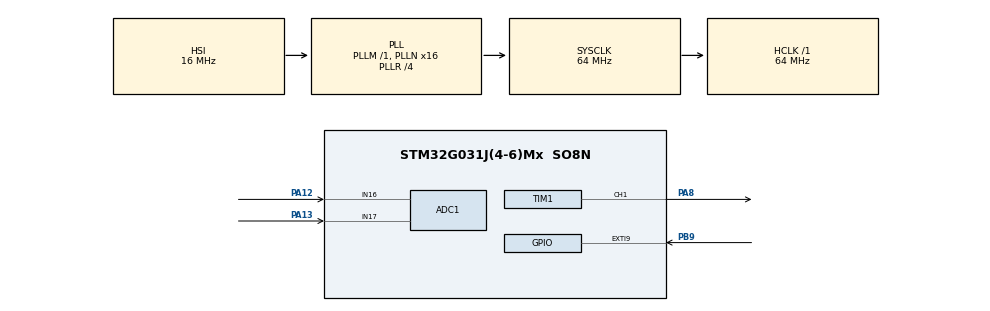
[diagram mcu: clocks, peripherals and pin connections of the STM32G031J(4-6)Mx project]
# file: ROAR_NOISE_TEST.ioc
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ADC1.ContinuousConvMode=DISABLE
ADC1.DMAContinuousRequests=DISABLE
ADC1.DiscontinuousConvMode=DISABLE
ADC1.NbrOfConversion=1
ADC1.NbrOfConversionFlag=0
ADC1.OversamplingMode=ENABLE
ADC1.Ratio=ADC_OVERSAMPLING_RATIO_256
ADC1.RightBitShift=ADC_RIGHTBITSHIFT_4
ADC1.SamplingTimeCommon1=ADC_SAMPLETIME_1CYCLE_5
ADC1.SelectedChannel=ADC_CHANNEL_16|ADC_CHANNEL_17
ADC1.Sequencer=NOT_FULLY_CONFIGURABLE
ADC1.master=1
Dma.ADC1.1.Direction=DMA_PERIPH_TO_MEMORY
Dma.ADC1.1.EventEnable=DISABLE
Dma.ADC1.1.Instance=DMA1_Channel2
Dma.ADC1.1.MemDataAlignment=DMA_MDATAALIGN_HALFWORD
Dma.ADC1.1.MemInc=DMA_MINC_ENABLE
Dma.ADC1.1.Mode=DMA_NORMAL
Dma.ADC1.1.PeriphDataAlignment=DMA_PDATAALIGN_HALFWORD
Dma.ADC1.1.PeriphInc=DMA_PINC_DISABLE
Dma.ADC1.1.Polarity=HAL_DMAMUX_REQ_GEN_RISING
Dma.ADC1.1.Priority=DMA_PRIORITY_LOW
Dma.ADC1.1.RequestNumber=1
Dma.ADC1.1.SignalID=NONE
Dma.ADC1.1.SyncEnable=DISABLE
Dma.ADC1.1.SyncPolarity=HAL_DMAMUX_SYNC_NO_EVENT
Dma.ADC1.1.SyncRequestNumber=1
Dma.ADC1.1.SyncSignalID=NONE
Dma.Request0=TIM2_CH1
Dma.Request1=ADC1
Dma.TIM2_CH1.0.Direction=DMA_MEMORY_TO_PERIPH
Dma.TIM2_CH1.0.EventEnable=DISABLE
Dma.TIM2_CH1.0.Instance=DMA1_Channel1
Dma.TIM2_CH1.0.MemDataAlignment=DMA_MDATAALIGN_WORD
Dma.TIM2_CH1.0.MemInc=DMA_MINC_ENABLE
Dma.TIM2_CH1.0.Mode=DMA_CIRCULAR
Dma.TIM2_CH1.0.PeriphDataAlignment=DMA_PDATAALIGN_WORD
Dma.TIM2_CH1.0.PeriphInc=DMA_PINC_DISABLE
Dma.TIM2_CH1.0.Polarity=HAL_DMAMUX_REQ_GEN_RISING
Dma.TIM2_CH1.0.Priority=DMA_PRIORITY_HIGH
Dma.TIM2_CH1.0.RequestNumber=1
Dma.TIM2_CH1.0.SignalID=NONE
Dma.TIM2_CH1.0.SyncEnable=DISABLE
Dma.TIM2_CH1.0.SyncPolarity=HAL_DMAMUX_SYNC_NO_EVENT
Dma.TIM2_CH1.0.SyncRequestNumber=1
Dma.TIM2_CH1.0.SyncSignalID=NONE
Mcu.Family=STM32G0
Mcu.Name=STM32G031J(4-6)Mx
Mcu.Package=SO8N
NVIC.DMA1_Channel1_IRQn=true\:0\:0\:false\:false\:true\:false\:true\:true
NVIC.DMA1_Channel2_3_IRQn=true\:0\:0\:false\:false\:true\:false\:true\:true
NVIC.EXTI4_15_IRQn=true\:0\:0\:false\:false\:true\:true\:true\:true
PA12\ [PA10].Mode=IN16
PA12\ [PA10].Signal=ADC1_IN16
PA13.Mode=IN17
PA13.Signal=ADC1_IN17
PA14-BOOT0__PA15__PB5__PB6.StandardMode=true
PA8.Signal=S_TIM1_CH1
PB0__PB1__PA8__PA11\ [PA9].StandardMode=true
PB9.Signal=GPXTI9
PC14-OSC32_IN\ (PC14)__PB7__PB8__PB9.StandardMode=true
PF2\ -\ NRST__PA0__PA1__PA2.StandardMode=true
ProjectManager.HeapSize=0x200
ProjectManager.StackSize=0x400
ProjectManager.TargetToolchain=STM32CubeIDE
RCC.ADCFreq_Value=64000000
RCC.AHBFreq_Value=64000000
RCC.CortexFreq_Value=64000000
RCC.EXTERNAL_CLOCK_VALUE=12288000
RCC.HCLKFreq_Value=64000000
RCC.HSE_VALUE=8000000
RCC.HSI_VALUE=16000000
RCC.LSE_VALUE=32768
RCC.PLLN=16
RCC.PLLR=RCC_PLLR_DIV4
RCC.SYSCLKFreq_VALUE=64000000
RCC.SYSCLKSource=RCC_SYSCLKSOURCE_PLLCLK
RCC.TIM1CLockSelectionVirtual=RCC_TIM1CLKSOURCE_PLL
RCC.VCOOutputFreq_Value=256000000
SH.S_TIM1_CH1.0=TIM1_CH1,PWM Generation1 CH1
TIM1.AutoReloadPreload=TIM_AUTORELOAD_PRELOAD_ENABLE
TIM1.Channel-PWM\ Generation1\ CH1=TIM_CHANNEL_1
TIM1.Period=256-1
TIM2.AutoReloadPreload=TIM_AUTORELOAD_PRELOAD_ENABLE
TIM2.Channel-Output\ Compare1\ No\ Output=TIM_CHANNEL_1
TIM2.Period=1000
VP_TIM1_VS_ClockSourceINT.Mode=Internal
VP_TIM2_VS_ClockSourceINT.Mode=Internal
VP_TIM2_VS_no_output1.Mode=Output Compare1 No Output
board=STM32G0316-DISCO

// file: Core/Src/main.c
/* USER CODE BEGIN Header */
/**
 ******************************************************************************
 * @file           : main.c
 * @brief          : Main program body
 ******************************************************************************
 * MORE ROARx3 - 15/7/24 JR_AC
 *
 *
 ******************************************************************************
 */
/* USER CODE END Header */
#include "main.h"

/* USER CODE BEGIN Includes */
#include "stdlib.h"
#include "math.h"
#define NS 256 // number of samples in wavetable 0 - 255
#define MODES 1 // number of modes
#define DECAY_RANGE 20 // rates of decay -> bell curve

/* USER CODE END Includes */

/* USER CODE BEGIN PTD */

uint32_t DstAddress = (uint32_t) &(TIM1->CCR1);

/* tables --------------------------------------------------------------------*/

// sine wave 8 bit resolution scaled to 94% max val
uint32_t sine[NS] = { 120, 123, 126, 129, 132, 134, 137, 140, 143, 146, 149,
		152, 155, 157, 160, 163, 165, 168, 171, 174, 177, 179, 181, 184, 186,
		189, 191, 194, 196, 198, 200, 202, 205, 207, 209, 211, 212, 214, 216,
		218, 220, 221, 223, 224, 226, 227, 228, 229, 230, 231, 233, 234, 235,
		235, 236, 237, 238, 238, 239, 239, 239, 240, 240, 240, 240, 240, 240,
		240, 239, 239, 239, 238, 238, 237, 236, 235, 235, 234, 233, 231, 230,
		229, 228, 227, 226, 224, 223, 221, 220, 218, 216, 214, 212, 211, 209,
		207, 205, 202, 200, 198, 196, 194, 191, 189, 186, 184, 181, 179, 177,
		174, 171, 168, 165, 163, 160, 157, 155, 152, 149, 146, 143, 140, 137,
		134, 132, 129, 126, 123, 120, 117, 114, 111, 108, 105, 102, 100, 97, 94,
		91, 87, 85, 83, 80, 77, 74, 71, 69, 66, 63, 61, 58, 55, 54, 51, 49, 46,
		44, 41, 39, 38, 35, 33, 31, 29, 27, 25, 24, 22, 20, 19, 17, 16, 14, 13,
		11, 10, 9, 8, 7, 6, 5, 5, 4, 3, 2, 2, 1, 1, 1, 0, 0, 0, 0, 0, 0, 0, 1,
		1, 1, 2, 2, 3, 4, 5, 5, 6, 7, 8, 9, 10, 11, 13, 14, 16, 17, 19, 20, 22,
		24, 25, 27, 29, 31, 33, 35, 38, 39, 41, 44, 46, 49, 51, 54, 55, 58, 61,
		63, 66, 69, 71, 74, 77, 80, 83, 85, 87, 91, 94, 97, 100, 102, 105, 108,
		111, 114, 117 };

// noise
uint32_t noise[NS];

// wave_LUT
uint32_t wave_LUT[NS];

// tmp
uint32_t tmp_wav_1[NS];
uint32_t tmp_wav[NS];

/* USER CODE END PTD */

ADC_HandleTypeDef hadc1;
DMA_HandleTypeDef hdma_adc1;

TIM_HandleTypeDef htim1;
TIM_HandleTypeDef htim2;
DMA_HandleTypeDef hdma_tim2_ch1;

/* USER CODE BEGIN PV */
// core/mode etc. select
uint8_t mode_sel = 1;
uint8_t core_sel = 1;
uint8_t buzz_sel = 1;
uint8_t XOR_sel = 1;
uint8_t swap_sel = 1;
uint8_t decay_multiplier = 0;

// debounce
uint32_t previousMillis = 0;
uint32_t currentMillis = 0;

// ADC setup
volatile uint16_t adcResultsDMA[2];
const int adcChannelCount = sizeof(adcResultsDMA) / sizeof(adcResultsDMA[0]);
volatile int adcConversionComplete = 0;

/* USER CODE END PV */

void SystemClock_Config(void);
static void MX_GPIO_Init(void);
static void MX_DMA_Init(void);
static void MX_TIM1_Init(void);
static void MX_TIM2_Init(void);
static void MX_ADC1_Init(void);

/* USER CODE BEGIN 0 */
// EXTI Line9 External Interrupt ISR Handler CallBackFun
void HAL_GPIO_EXTI_Rising_Callback(uint16_t GPIO_Pin) {

	currentMillis = HAL_GetTick(); // debounce
//
	if (GPIO_Pin == GPIO_PIN_9 && (currentMillis - previousMillis > 20)) { // 20 ms debounce
		decay_multiplier += 1;
	}

		//		mode_sel = mode_sel + 1;
//		buzz_sel = buzz_sel + 9;
//		swap_sel = swap_sel + 3;
//		XOR_sel = XOR_sel + 1; // wraps around > 256
//		previousMillis = currentMillis;
//
//		if (mode_sel % MODES == 1) {
//			decay_multiplier += 1;
//			core_sel = core_sel + 1;
//		}
//
//	}
////
//	if (mode_sel > MODES) { // see defines
//		mode_sel = 1;
//
//	}
}
/* USER CODE END 0 */

int main(void) {

	/* USER CODE BEGIN 1 */

//	// Map functions
//	uint32_t take_log(uint32_t num) {
//		double num_log = sqrt(num);
//		num_log = num_log * 10;
//		uint32_t int_log = (int) num_log;
//		return int_log;
//	}
//
//	uint32_t MAP(uint32_t au32_IN, uint32_t au32_INmin, uint32_t au32_INmax,
//			uint32_t au32_OUTmin, uint32_t au32_OUTmax) {
//		return ((((au32_IN - au32_INmin) * (au32_OUTmax - au32_OUTmin))
//				/ (au32_INmax - au32_INmin)) + au32_OUTmin);
//	}
//
//	uint32_t map_counter_scale(uint32_t num, uint32_t divisor,
//			uint8_t divisor_bitshift, uint32_t offset) {
//		num = num - offset;
//		if (num < 0)
//			num = 0;
//		float num_div = (float) num / (divisor >> divisor_bitshift); // get a number between 1 and 20
//		return (uint32_t) num_div;
//	}
	// Noise function
	/* USER CODE BEGIN 1 */
//	// Functions

	void noise_func(uint32_t dest[], uint32_t src[], uint32_t length, int decay) {
		int decay_adj = round(decay*0.4);
		for (int i = 0; i < length; i++) {
			dest[i] = src[i];
		}

		for (int i = 0; i < decay_adj; i++)
			dest[rand() % length] = (dest[rand() % length] + rand() % 128) % 256;
	}

	void rot(uint32_t dest[], uint32_t src[], uint32_t length, int decay) {
		int decay_adj = round(decay*0.6);
		for (int i = 0; i < length; i++) {
			dest[i] = src[i];
		}

		if(decay_adj > length) decay_adj = length;

		for (int i = 0; i < decay_adj; i++)
			dest[i] = (dest[i] + rand() % 128) % 256;
	}

	void clipper_func(uint32_t dest[], uint32_t src[], int length, int num) {
		for (int i = 0; i < length; i++) {
			dest[i] = src[i];
			dest[i] += num;
		}
	}
//
	void XOR_func(uint32_t dest[], uint32_t src[], int length, int decay) {
		for (int i = 0; i < length; i++) {
			dest[i] = src[i];
			dest[i] ^= decay;
		}
	}

	//
		void inc_XOR(uint32_t dest[], uint32_t src[], int length, int decay) {
			for (int i = 0; i < length; i++) {
				dest[i] = src[i];
				dest[i] |= decay;
			}
		}

	void shuffle_func(uint32_t dest[], uint32_t src[], int length, int decay) {
		//need to work out how to make a function of decay
		for (int i = 0; i < length; i++) {
			dest[i] = src[i];
		}

		for (int i=0; i<decay; i++) {
			int swap_index = rand() % swap_sel;
			int rand_ind = rand() % length;

			// swap whatever is at index i with whatever is at the swap_index
			uint32_t temp = dest[rand_ind];
			dest[rand_ind] = dest[swap_index];
			dest[swap_index] = temp;
		}
	}
	/* USER CODE END 1 */

	/* MCU Configuration--------------------------------------------------------*/

	/* Reset of all peripherals, Initializes the Flash interface and the Systick. */
	HAL_Init();

	/* Configure the system clock */
	SystemClock_Config();

	/* Initialize all configured peripherals */
	MX_GPIO_Init();
	MX_DMA_Init();
	MX_TIM1_Init();
	MX_TIM2_Init();
	MX_ADC1_Init();
	/* USER CODE BEGIN 2 */

////PWM test
//	TIM1->CCR1 = 128;
	HAL_TIM_PWM_Start(&htim1, TIM_CHANNEL_1);
	HAL_TIM_OC_Start(&htim2, TIM_CHANNEL_1);
	HAL_DMA_Start_IT(&hdma_tim2_ch1, (uint32_t) sine, DstAddress, NS);
	__HAL_TIM_ENABLE_DMA(&htim2, TIM_DMA_CC1);
	// Calibrate The ADC On Power-Up For Better Accuracy
	HAL_ADCEx_Calibration_Start(&hadc1);

	//set up variables
	memcpy(wave_LUT, sine, sizeof(sine));
	srand(time(NULL));

	uint32_t random_number = rand();
	uint32_t decay_rate = 1 + random_number%DECAY_RANGE;
	uint32_t ctr = 0;
	uint32_t phase = 0;
	uint32_t phase_add = 15;
	uint32_t freq = 1000;
	uint32_t ctr_scale = 0;
	uint32_t table_lookup = 1000; // renamed
	uint32_t ad0_bitshift = 1000;

	/* USER CODE END 2 */

	/* Infinite loop */
	/* USER CODE BEGIN WHILE */

	while (1) {

		if(decay_multiplier > 0){
			int rate = decay_rate*decay_multiplier;

			// xor then rot -- goes to noise
//			inc_XOR(tmp_wav_1, sine, NS, rate);
//			rot(tmp_wav, tmp_wav_1, NS, rate);

			// rot then xor -- goes to 0
			rot(tmp_wav_1, sine, NS, rate);
			inc_XOR(tmp_wav, tmp_wav_1, NS, rate);

			//			XOR_func(tmp_wav_1, sine, NS, decay_rate*decay_multiplier);
	//		clipper_func(tmp_wav, sine, NS, decay_rate*decay_multiplier);
//			noise_func(tmp_wav, tmp_wav_1, NS, decay_rate*decay_multiplier);

	//		shuffle_func(tmp_wav, sine, NS, decay_rate*decay_multiplier);
			memcpy(wave_LUT, tmp_wav, sizeof(tmp_wav)); // dest, src, size(src) - acts as a buffer for passing to DMA1
			DMA1_Channel1->CMAR = (uint32_t) wave_LUT; // SrcAddress

			if (rate > NS-1) decay_multiplier = 0;
		}

		else DMA1_Channel1->CMAR = (uint32_t) sine; // SrcAddress

//		freq = (adcResultsDMA[0] >> 3);

//		if ((adcResultsDMA[1] >> 50) > 10) ctr_scale =
//		else ctr_scale = 1;

		phase_add = (adcResultsDMA[1] >> 6);

		ctr_scale = 1;

//		phase_add = 10;
		table_lookup = wave_LUT[phase];
		ad0_bitshift = (adcResultsDMA[0] >> 3);
		freq = ad0_bitshift + (table_lookup) * 2;

		if (freq <= 0) freq = 1;
		TIM2 -> ARR = freq;

		ctr += 1;
		if(ctr%ctr_scale == 0){
			phase += phase_add;
		}

		phase = phase%NS;
		ctr = ctr%NS;

		/* USER CODE BEGIN 3 */
		HAL_ADC_Start_DMA(&hadc1, (uint32_t*) adcResultsDMA, adcChannelCount);
		while (adcConversionComplete == 0) {

		}
		adcConversionComplete = 0;
	} // end of while loop!
	/* USER CODE END 3 */
}

void SystemClock_Config(void) {
	RCC_OscInitTypeDef RCC_OscInitStruct = { 0 };
	RCC_ClkInitTypeDef RCC_ClkInitStruct = { 0 };

	/** Configure the main internal regulator output voltage
	 */
	HAL_PWREx_ControlVoltageScaling(PWR_REGULATOR_VOLTAGE_SCALE1);

	/** Initializes the RCC Oscillators according to the specified parameters
	 * in the RCC_OscInitTypeDef structure.
	 */
	RCC_OscInitStruct.OscillatorType = RCC_OSCILLATORTYPE_HSI;
	RCC_OscInitStruct.HSIState = RCC_HSI_ON;
	RCC_OscInitStruct.HSIDiv = RCC_HSI_DIV1;
	RCC_OscInitStruct.HSICalibrationValue = RCC_HSICALIBRATION_DEFAULT;
	RCC_OscInitStruct.PLL.PLLState = RCC_PLL_ON;
	RCC_OscInitStruct.PLL.PLLSource = RCC_PLLSOURCE_HSI;
	RCC_OscInitStruct.PLL.PLLM = RCC_PLLM_DIV1;
	RCC_OscInitStruct.PLL.PLLN = 16;
	RCC_OscInitStruct.PLL.PLLP = RCC_PLLP_DIV2;
	RCC_OscInitStruct.PLL.PLLQ = RCC_PLLQ_DIV2;
	RCC_OscInitStruct.PLL.PLLR = RCC_PLLR_DIV4;
	if (HAL_RCC_OscConfig(&RCC_OscInitStruct) != HAL_OK) {
		Error_Handler();
	}

	/** Initializes the CPU, AHB and APB buses clocks
	 */
	RCC_ClkInitStruct.ClockType = RCC_CLOCKTYPE_HCLK | RCC_CLOCKTYPE_SYSCLK
			| RCC_CLOCKTYPE_PCLK1;
	RCC_ClkInitStruct.SYSCLKSource = RCC_SYSCLKSOURCE_PLLCLK;
	RCC_ClkInitStruct.AHBCLKDivider = RCC_SYSCLK_DIV1;
	RCC_ClkInitStruct.APB1CLKDivider = RCC_HCLK_DIV1;

	if (HAL_RCC_ClockConfig(&RCC_ClkInitStruct, FLASH_LATENCY_2) != HAL_OK) {
		Error_Handler();
	}
}

static void MX_ADC1_Init(void) {

	ADC_ChannelConfTypeDef sConfig = { 0 };

	/** Configure the global features of the ADC (Clock, Resolution, Data Alignment and number of conversion)
	 */
	hadc1.Instance = ADC1;
	hadc1.Init.ClockPrescaler = ADC_CLOCK_SYNC_PCLK_DIV2;
	hadc1.Init.Resolution = ADC_RESOLUTION_12B;
	hadc1.Init.DataAlign = ADC_DATAALIGN_RIGHT;
	hadc1.Init.ScanConvMode = ADC_SCAN_SEQ_FIXED;
	hadc1.Init.EOCSelection = ADC_EOC_SINGLE_CONV;
	hadc1.Init.LowPowerAutoWait = DISABLE;
	hadc1.Init.LowPowerAutoPowerOff = DISABLE;
	hadc1.Init.ContinuousConvMode = DISABLE;
	hadc1.Init.NbrOfConversion = 1;
	hadc1.Init.DiscontinuousConvMode = DISABLE;
	hadc1.Init.ExternalTrigConv = ADC_SOFTWARE_START;
	hadc1.Init.ExternalTrigConvEdge = ADC_EXTERNALTRIGCONVEDGE_NONE;
	hadc1.Init.DMAContinuousRequests = DISABLE;
	hadc1.Init.Overrun = ADC_OVR_DATA_PRESERVED;
	hadc1.Init.SamplingTimeCommon1 = ADC_SAMPLETIME_1CYCLE_5;
	hadc1.Init.OversamplingMode = ENABLE;
	hadc1.Init.Oversampling.Ratio = ADC_OVERSAMPLING_RATIO_256;
	hadc1.Init.Oversampling.RightBitShift = ADC_RIGHTBITSHIFT_4;
	hadc1.Init.Oversampling.TriggeredMode = ADC_TRIGGEREDMODE_SINGLE_TRIGGER;
	hadc1.Init.TriggerFrequencyMode = ADC_TRIGGER_FREQ_HIGH;
	if (HAL_ADC_Init(&hadc1) != HAL_OK) {
		Error_Handler();
	}

	/** Configure Regular Channel
	 */
	sConfig.Channel = ADC_CHANNEL_16;
	sConfig.Rank = ADC_RANK_CHANNEL_NUMBER;
	if (HAL_ADC_ConfigChannel(&hadc1, &sConfig) != HAL_OK) {
		Error_Handler();
	}

	/** Configure Regular Channel
	 */
	sConfig.Channel = ADC_CHANNEL_17;
	if (HAL_ADC_ConfigChannel(&hadc1, &sConfig) != HAL_OK) {
		Error_Handler();
	}

}

static void MX_TIM1_Init(void) {

	TIM_ClockConfigTypeDef sClockSourceConfig = { 0 };
	TIM_MasterConfigTypeDef sMasterConfig = { 0 };
	TIM_OC_InitTypeDef sConfigOC = { 0 };
	TIM_BreakDeadTimeConfigTypeDef sBreakDeadTimeConfig = { 0 };

	htim1.Instance = TIM1;
	htim1.Init.Prescaler = 0;
	htim1.Init.CounterMode = TIM_COUNTERMODE_UP;
	htim1.Init.Period = 256 - 1;
	htim1.Init.ClockDivision = TIM_CLOCKDIVISION_DIV1;
	htim1.Init.RepetitionCounter = 0;
	htim1.Init.AutoReloadPreload = TIM_AUTORELOAD_PRELOAD_ENABLE;
	if (HAL_TIM_Base_Init(&htim1) != HAL_OK) {
		Error_Handler();
	}
	sClockSourceConfig.ClockSource = TIM_CLOCKSOURCE_INTERNAL;
	if (HAL_TIM_ConfigClockSource(&htim1, &sClockSourceConfig) != HAL_OK) {
		Error_Handler();
	}
	if (HAL_TIM_PWM_Init(&htim1) != HAL_OK) {
		Error_Handler();
	}
	sMasterConfig.MasterOutputTrigger = TIM_TRGO_RESET;
	sMasterConfig.MasterOutputTrigger2 = TIM_TRGO2_RESET;
	sMasterConfig.MasterSlaveMode = TIM_MASTERSLAVEMODE_DISABLE;
	if (HAL_TIMEx_MasterConfigSynchronization(&htim1, &sMasterConfig)
			!= HAL_OK) {
		Error_Handler();
	}
	sConfigOC.OCMode = TIM_OCMODE_PWM1;
	sConfigOC.Pulse = 0;
	sConfigOC.OCPolarity = TIM_OCPOLARITY_HIGH;
	sConfigOC.OCNPolarity = TIM_OCNPOLARITY_HIGH;
	sConfigOC.OCFastMode = TIM_OCFAST_DISABLE;
	sConfigOC.OCIdleState = TIM_OCIDLESTATE_RESET;
	sConfigOC.OCNIdleState = TIM_OCNIDLESTATE_RESET;
	if (HAL_TIM_PWM_ConfigChannel(&htim1, &sConfigOC, TIM_CHANNEL_1)
			!= HAL_OK) {
		Error_Handler();
	}
	sBreakDeadTimeConfig.OffStateRunMode = TIM_OSSR_DISABLE;
	sBreakDeadTimeConfig.OffStateIDLEMode = TIM_OSSI_DISABLE;
	sBreakDeadTimeConfig.LockLevel = TIM_LOCKLEVEL_OFF;
	sBreakDeadTimeConfig.DeadTime = 0;
	sBreakDeadTimeConfig.BreakState = TIM_BREAK_DISABLE;
	sBreakDeadTimeConfig.BreakPolarity = TIM_BREAKPOLARITY_HIGH;
	sBreakDeadTimeConfig.BreakFilter = 0;
	sBreakDeadTimeConfig.BreakAFMode = TIM_BREAK_AFMODE_INPUT;
	sBreakDeadTimeConfig.Break2State = TIM_BREAK2_DISABLE;
	sBreakDeadTimeConfig.Break2Polarity = TIM_BREAK2POLARITY_HIGH;
	sBreakDeadTimeConfig.Break2Filter = 0;
	sBreakDeadTimeConfig.Break2AFMode = TIM_BREAK_AFMODE_INPUT;
	sBreakDeadTimeConfig.AutomaticOutput = TIM_AUTOMATICOUTPUT_DISABLE;
	if (HAL_TIMEx_ConfigBreakDeadTime(&htim1, &sBreakDeadTimeConfig)
			!= HAL_OK) {
		Error_Handler();
	}
	HAL_TIM_MspPostInit(&htim1);

}

static void MX_TIM2_Init(void) {

	TIM_ClockConfigTypeDef sClockSourceConfig = { 0 };
	TIM_MasterConfigTypeDef sMasterConfig = { 0 };
	TIM_OC_InitTypeDef sConfigOC = { 0 };

	htim2.Instance = TIM2;
	htim2.Init.Prescaler = 0;
	htim2.Init.CounterMode = TIM_COUNTERMODE_UP;
	htim2.Init.Period = 1000;
	htim2.Init.ClockDivision = TIM_CLOCKDIVISION_DIV1;
	htim2.Init.AutoReloadPreload = TIM_AUTORELOAD_PRELOAD_ENABLE;
	if (HAL_TIM_Base_Init(&htim2) != HAL_OK) {
		Error_Handler();
	}
	sClockSourceConfig.ClockSource = TIM_CLOCKSOURCE_INTERNAL;
	if (HAL_TIM_ConfigClockSource(&htim2, &sClockSourceConfig) != HAL_OK) {
		Error_Handler();
	}
	if (HAL_TIM_OC_Init(&htim2) != HAL_OK) {
		Error_Handler();
	}
	sMasterConfig.MasterOutputTrigger = TIM_TRGO_RESET;
	sMasterConfig.MasterSlaveMode = TIM_MASTERSLAVEMODE_DISABLE;
	if (HAL_TIMEx_MasterConfigSynchronization(&htim2, &sMasterConfig)
			!= HAL_OK) {
		Error_Handler();
	}
	sConfigOC.OCMode = TIM_OCMODE_TIMING;
	sConfigOC.Pulse = 0;
	sConfigOC.OCPolarity = TIM_OCPOLARITY_HIGH;
	sConfigOC.OCFastMode = TIM_OCFAST_DISABLE;
	if (HAL_TIM_OC_ConfigChannel(&htim2, &sConfigOC, TIM_CHANNEL_1) != HAL_OK) {
		Error_Handler();
	}

}

static void MX_DMA_Init(void) {

	/* DMA controller clock enable */
	__HAL_RCC_DMA1_CLK_ENABLE();

	/* DMA interrupt init */
	/* DMA1_Channel1_IRQn interrupt configuration */
	HAL_NVIC_SetPriority(DMA1_Channel1_IRQn, 0, 0);
	HAL_NVIC_EnableIRQ(DMA1_Channel1_IRQn);
	/* DMA1_Channel2_3_IRQn interrupt configuration */
	HAL_NVIC_SetPriority(DMA1_Channel2_3_IRQn, 0, 0);
	HAL_NVIC_EnableIRQ(DMA1_Channel2_3_IRQn);

}

static void MX_GPIO_Init(void) {
	GPIO_InitTypeDef GPIO_InitStruct = { 0 };

	/* GPIO Ports Clock Enable */
	__HAL_RCC_GPIOB_CLK_ENABLE();
	__HAL_RCC_GPIOA_CLK_ENABLE();

	/*Configure GPIO pin : PB9 */
	GPIO_InitStruct.Pin = GPIO_PIN_9;
	GPIO_InitStruct.Mode = GPIO_MODE_IT_RISING;
	GPIO_InitStruct.Pull = GPIO_NOPULL;
	HAL_GPIO_Init(GPIOB, &GPIO_InitStruct);

	/* EXTI interrupt init*/
	HAL_NVIC_SetPriority(EXTI4_15_IRQn, 0, 0);
	HAL_NVIC_EnableIRQ(EXTI4_15_IRQn);

}

/* USER CODE BEGIN 4 */
void HAL_ADC_ConvCpltCallback(ADC_HandleTypeDef *hadc) {
	// Conversion Complete & DMA Transfer Complete As Well
	adcConversionComplete = 1;
}

/* USER CODE END 4 */

void Error_Handler(void) {
	__disable_irq();
	while (1) {
	}
}
